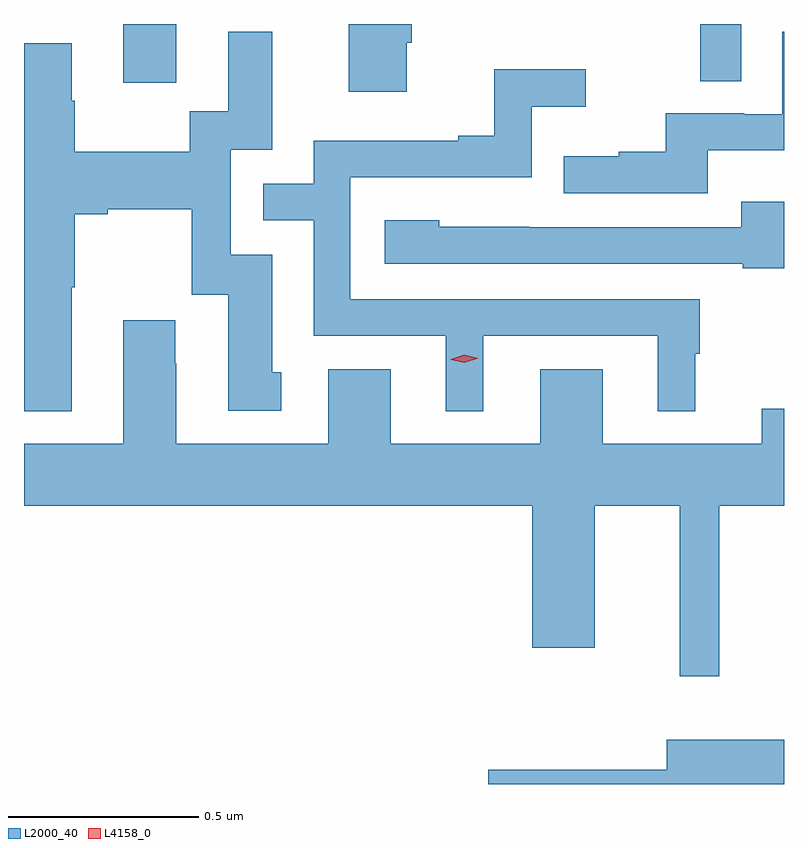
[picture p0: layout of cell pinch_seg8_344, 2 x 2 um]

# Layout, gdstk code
import gdstk
lib = gdstk.Library(unit=1e-6, precision=1e-09)
def R(c, l, rs):  # rectangles x0, y0, x1, y1
    for r in rs: c.add(gdstk.rectangle(r[:2], r[2:], *l))
def P(c, l, *ps):  # polygons
    for p in ps: c.add(gdstk.Polygon(p, *l))
L2000_40 = (2000, 40)
L4158_0 = (4158, 0)

pinch_seg8_344 = lib.new_cell('pinch_seg8_344')
R(pinch_seg8_344, L2000_40, [(439.655,1138.926,439.795,1139.08), (441.174,1138.93,441.282,1139.08)])
P(pinch_seg8_344, L2000_40, [(440.401,1139.031),(440.414,1139.031),(440.414,1139.08),(440.249,1139.08),(440.249,1138.902),(440.401,1138.902)],
  [(441.193,1138.748),(441.394,1138.748),(441.394,1139.059),(441.39,1139.059),(441.39,1138.842),(441.29,1138.842),(441.29,1138.845),(441.083,1138.845),(441.083,1138.744),(440.959,1138.744),(440.959,1138.732),(440.815,1138.732),(440.815,1138.635),(441.193,1138.635)],
  [(439.519,1138.387),(439.527,1138.387),(439.527,1138.58),(439.615,1138.58),(439.615,1138.592),(439.835,1138.592),(439.835,1138.368),(439.931,1138.368),(439.931,1138.062),(440.071,1138.062),(440.071,1138.164),(440.047,1138.164),(440.047,1138.473),(439.938,1138.473),(439.938,1138.749),(440.047,1138.749),(440.047,1139.059),(439.931,1139.059),(439.931,1138.85),(439.83,1138.85),(439.83,1138.744),(439.527,1138.744),(439.527,1138.878),(439.519,1138.878),(439.519,1139.029),(439.394,1139.029),(439.394,1138.061),(439.519,1138.061)],
  [(440.602,1138.26),(441.062,1138.26),(441.062,1138.061),(441.16,1138.061),(441.16,1138.212),(441.172,1138.212),(441.172,1138.356),(440.253,1138.356),(440.253,1138.677),(440.73,1138.677),(440.73,1138.862),(440.872,1138.862),(440.872,1138.961),(440.632,1138.961),(440.632,1138.786),(440.537,1138.786),(440.537,1138.773),(440.157,1138.773),(440.157,1138.659),(440.023,1138.659),(440.023,1138.563),(440.157,1138.563),(440.157,1138.26),(440.504,1138.26),(440.504,1138.061),(440.602,1138.061)],
  [(441.394,1138.612),(441.281,1138.612),(441.281,1138.545),(440.723,1138.545),(440.723,1138.546),(440.487,1138.546),(440.487,1138.564),(440.343,1138.564),(440.343,1138.449),(441.285,1138.449),(441.285,1138.437),(441.394,1138.437)],
  [(441.223,1137.812),(441.394,1137.812),(441.394,1138.067),(441.335,1138.067),(441.335,1137.976),(440.917,1137.976),(440.917,1138.171),(440.753,1138.171),(440.753,1137.976),(440.359,1137.976),(440.359,1138.171),(440.195,1138.171),(440.195,1137.976),(439.795,1137.976),(439.795,1138.187),(439.792,1138.187),(439.792,1138.3),(439.655,1138.3),(439.655,1137.976),(439.394,1137.976),(439.394,1137.812),(440.732,1137.812),(440.732,1137.438),(440.896,1137.438),(440.896,1137.812),(441.119,1137.812),(441.119,1137.363),(441.223,1137.363)],
  [(441.394,1137.196),(441.086,1137.196),(441.086,1137.117),(440.616,1137.117),(440.616,1137.08),(441.394,1137.08)])
P(pinch_seg8_344, L4158_0, [(440.553,1138.189),(440.517,1138.197),(440.517,1138.198),(440.517,1138.198),(440.553,1138.209),(440.589,1138.201),(440.589,1138.2),(440.589,1138.2)])

lib.write_gds('pinch_seg8_344.gds')
